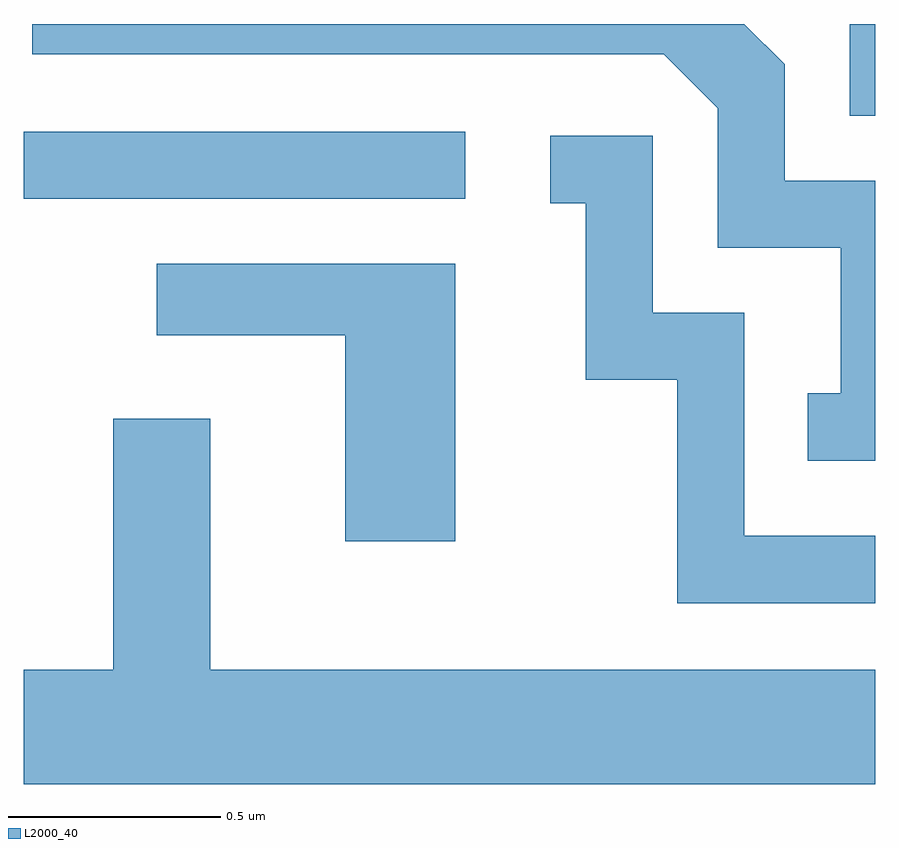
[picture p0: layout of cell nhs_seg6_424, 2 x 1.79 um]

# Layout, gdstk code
import gdstk
lib = gdstk.Library(unit=1e-6, precision=1e-09)
def R(c, l, rs):  # rectangles x0, y0, x1, y1
    for r in rs: c.add(gdstk.rectangle(r[:2], r[2:], *l))
def P(c, l, *ps):  # polygons
    for p in ps: c.add(gdstk.Polygon(p, *l))
L2000_40 = (2000, 40)

nhs_seg6_424 = lib.new_cell('nhs_seg6_424')
R(nhs_seg6_424, L2000_40, [(188.611,1544.751,189.648,1544.909), (190.551,1544.946,190.611,1545.162)])
P(nhs_seg6_424, L2000_40, [(190.611,1544.794),(190.399,1544.794),(190.399,1545.067),(190.304,1545.162),(188.631,1545.162),(188.631,1545.091),(190.114,1545.091),(190.241,1544.964),(190.241,1544.636),(190.531,1544.636),(190.531,1544.294),(190.453,1544.294),(190.453,1544.136),(190.611,1544.136)],
  [(190.611,1543.959),(190.304,1543.959),(190.304,1544.484),(190.089,1544.484),(190.089,1544.899),(189.848,1544.899),(189.848,1544.741),(189.931,1544.741),(189.931,1544.326),(190.146,1544.326),(190.146,1543.801),(190.611,1543.801)],
  [(189.624,1544.599),(188.923,1544.599),(188.923,1544.431),(189.366,1544.431),(189.366,1543.946),(189.624,1543.946)],
  [(190.611,1543.644),(189.049,1543.644),(189.049,1544.234),(188.821,1544.234),(188.821,1543.644),(188.611,1543.644),(188.611,1543.376),(190.611,1543.376)])

lib.write_gds('nhs_seg6_424.gds')
